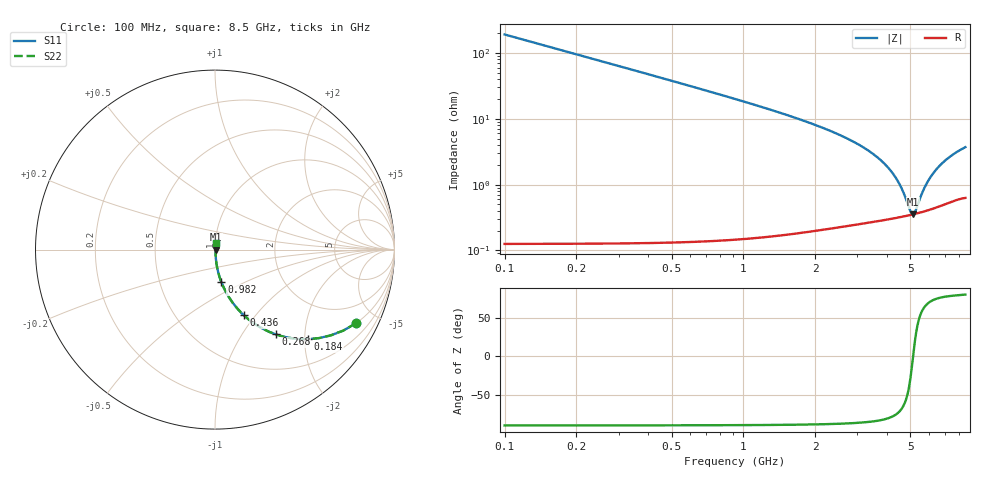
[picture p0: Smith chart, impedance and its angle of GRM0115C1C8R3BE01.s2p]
!Murata Part Number: GRM0115C1C8R3BE01
!These Parameters are Measured in Series Mode Connection
!Data Generated on Mar 30, 2021
!  o--ll--o
!Port1  Port2
!  o------o
!Operation Temp=25[degC], DC Bias Voltage=0[V]
!Freq. Start=100[MHz] Stop=9[GHz] 401[Steps]
# Hz S RI R 50
!Freq.(Hz) S11(Real) S11(Imag) S21(Real) S21(Imag) S12(Real) S12(Imag) S22(Real) S22(Imag)
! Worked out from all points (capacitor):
!   401 points, 100 MHz to 8.5 GHz, reference 50 ohm
!   read as one part in series: C = 8.3 pF near 142 MHz
!   lowest |Z| = 353 mohm at 5.119 GHz (marker M1)
!   series resonance near 5.133 GHz, so ESL is about 120 pH
!   S11 on the Smith chart (normalised r, x): 100 MHz: 1.00, -3.83; 184 MHz: 1.00, -2.08; 268 MHz: 1.00, -1.43; 436 MHz: 1.00, -0.87; 982 MHz: 1.00, -0.38; 8.5 GHz: 1.01, +0.07
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1e8  0.7859 -0.4099  0.2141 0.4099  0.2141 0.4099  0.7859 -0.4099
1.42e8  0.6453 -0.4779  0.3547 0.4779  0.3547 0.4779  0.6453 -0.4779
1.84e8  0.5199 -0.499  0.4801 0.499  0.4801 0.499  0.5199 -0.499
2.68e8  0.3376 -0.472  0.6624 0.472  0.6624 0.472  0.3376 -0.472
3.52e8  0.2276 -0.4181  0.7724 0.4181  0.7724 0.4181  0.2276 -0.4181
4.36e8  0.1607 -0.3658  0.8393 0.3658  0.8393 0.3658  0.1607 -0.3658
6.46e8  0.0795 -0.2683  0.9205 0.2683  0.9205 0.2683  0.0795 -0.2683
9.82e8  0.0354 -0.1808  0.9646 0.1808  0.9646 0.1808  0.0354 -0.1808
1.507e9  0.0149 -0.1138  0.9851 0.1138  0.9851 0.1138  0.0149 -0.1138
2.914e9  0.00437 -0.0438  0.9956 0.0438  0.9956 0.0438  0.00437 -0.0438
3.733e9  0.00338 -0.0238  0.9966 0.0238  0.9966 0.0238  0.00338 -0.0238
4.3e9  0.00325 -0.013  0.9967 0.013  0.9967 0.013  0.00325 -0.013
4.615e9  0.0033 -0.0078  0.9967 0.0078  0.9967 0.0078  0.0033 -0.0078
4.993e9  0.00345 -0.00203  0.9966 0.00203  0.9966 0.00203  0.00345 -0.00203
5.119e9  0.00352 -0.000205  0.9965 0.000205  0.9965 0.000205  0.00352 -0.000205
5.245e9  0.00359 0.00157  0.9964 -0.00157  0.9964 -0.00157  0.00359 0.00157
5.707e9  0.00396 0.00772  0.996 -0.00772  0.996 -0.00772  0.00396 0.00772
5.98e9  0.00422 0.0111  0.9958 -0.0111  0.9958 -0.0111  0.00422 0.0111
6.295e9  0.00458 0.0149  0.9954 -0.0149  0.9954 -0.0149  0.00458 0.0149
7.114e9  0.0057 0.0237  0.9943 -0.0237  0.9943 -0.0237  0.0057 0.0237
7.765e9  0.00667 0.0299  0.9933 -0.0299  0.9933 -0.0299  0.00667 0.0299
8.5e9  0.00756 0.0361  0.9924 -0.0361  0.9924 -0.0361  0.00756 0.0361
